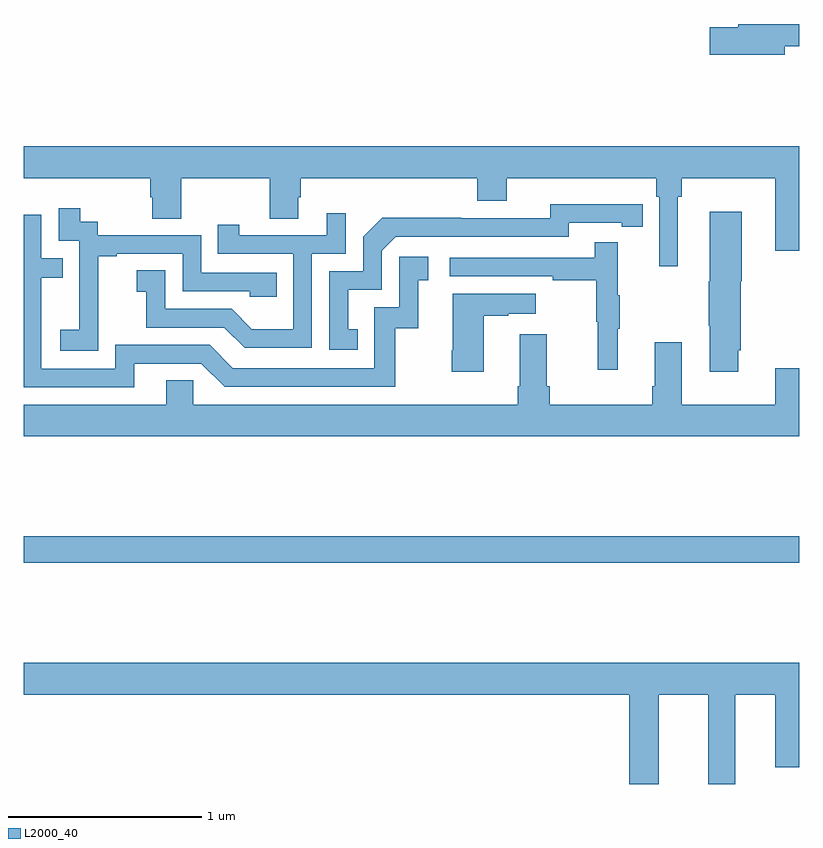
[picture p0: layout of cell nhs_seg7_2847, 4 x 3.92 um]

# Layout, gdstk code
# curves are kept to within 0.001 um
import gdstk
lib = gdstk.Library(unit=1e-6, precision=1e-09)
def R(c, l, rs):  # rectangles x0, y0, x1, y1
    for r in rs: c.add(gdstk.rectangle(r[:2], r[2:], *l))
def P(c, l, *ps):  # polygons
    for p in ps: c.add(gdstk.Polygon(p, *l))
L2000_40 = (2000, 40)

nhs_seg7_2847 = lib.new_cell('nhs_seg7_2847')
R(nhs_seg7_2847, L2000_40, [(293,1077.22,297,1077.356)])
P(nhs_seg7_2847, L2000_40, [(296.926,1079.884),(297,1079.884),(297,1080),(296.687,1080),(296.687,1079.984),(296.538,1079.984),(296.538,1079.842),(296.926,1079.842)],
  [(296.374,1079.108),(296.393,1079.108),(296.393,1079.204),(296.876,1079.204),(296.876,1078.83),(297,1078.83),(297,1079.368),(293,1079.368),(293,1079.204),(293.651,1079.204),(293.651,1079.106),(293.663,1079.106),(293.663,1078.996),(293.811,1078.996),(293.811,1079.204),(294.268,1079.204),(294.268,1078.996),(294.415,1078.996),(294.415,1079.106),(294.428,1079.106),(294.428,1079.204),(295.34,1079.204),(295.34,1079.087),(295.492,1079.087),(295.492,1079.204),(296.264,1079.204),(296.264,1079.108),(296.277,1079.108),(296.277,1078.749),(296.374,1078.749)],
  [(294.722,1078.425),(294.673,1078.425),(294.673,1078.629),(294.846,1078.629),(294.846,1078.83),(294.918,1078.902),(295.812,1078.902),(295.812,1078.974),(296.084,1078.974),(296.084,1078.954),(296.192,1078.954),(296.192,1079.07),(295.716,1079.071),(295.716,1078.998),(295.256,1078.998),(295.256,1079),(294.848,1079),(294.75,1078.902),(294.75,1078.725),(294.576,1078.725),(294.576,1078.32),(294.722,1078.32)],
  [(293.385,1078.519),(293.384,1078.519),(293.384,1078.803),(293.479,1078.803),(293.479,1078.815),(293.82,1078.815),(293.82,1078.62),(294.165,1078.62),(294.165,1078.593),(294.305,1078.593),(294.305,1078.716),(293.916,1078.716),(293.916,1078.911),(293.382,1078.911),(293.382,1078.98),(293.29,1078.98),(293.29,1079.05),(293.181,1079.05),(293.181,1078.881),(293.286,1078.881),(293.286,1078.652),(293.285,1078.652),(293.285,1078.423),(293.187,1078.423),(293.187,1078.313),(293.385,1078.313)],
  [(296.686,1078.318),(296.699,1078.318),(296.699,1078.674),(296.704,1078.674),(296.704,1079.032),(296.54,1079.032),(296.54,1078.674),(296.533,1078.674),(296.533,1078.444),(296.54,1078.444),(296.54,1078.206),(296.686,1078.206)],
  [(294.486,1078.815),(294.66,1078.815),(294.66,1079.023),(294.563,1079.023),(294.563,1078.911),(294.112,1078.911),(294.112,1078.963),(294.001,1078.963),(294.001,1078.815),(294.39,1078.815),(294.39,1078.426),(294.176,1078.426),(294.072,1078.53),(293.73,1078.53),(293.73,1078.729),(293.583,1078.729),(293.583,1078.619),(293.632,1078.619),(293.632,1078.434),(294.035,1078.434),(294.14,1078.329),(294.486,1078.329)],
  [(293.569,1078.248),(293.916,1078.248),(294.036,1078.128),(294.916,1078.128),(294.916,1078.431),(295.034,1078.431),(295.034,1078.677),(295.087,1078.677),(295.087,1078.798),(294.936,1078.798),(294.936,1078.539),(294.807,1078.539),(294.807,1078.224),(294.078,1078.224),(293.958,1078.344),(293.472,1078.344),(293.472,1078.221),(293.091,1078.221),(293.091,1078.69),(293.201,1078.69),(293.201,1078.791),(293.091,1078.791),(293.091,1079.016),(293,1079.016),(293,1078.125),(293.569,1078.125)],
  [(296.063,1078.427),(296.074,1078.427),(296.074,1078.601),(296.063,1078.601),(296.063,1078.873),(295.945,1078.873),(295.945,1078.794),(295.197,1078.794),(295.197,1078.698),(295.729,1078.698),(295.729,1078.678),(295.953,1078.678),(295.953,1078.464),(295.96,1078.464),(295.96,1078.215),(296.063,1078.215)],
  [(295.372,1078.495),(295.499,1078.495),(295.499,1078.505),(295.642,1078.505),(295.642,1078.609),(295.214,1078.609),(295.214,1078.318),(295.207,1078.318),(295.207,1078.206),(295.372,1078.206)],
  [(297,1078.225),(296.876,1078.225),(296.876,1078.036),(296.395,1078.036),(296.395,1078.357),(296.255,1078.357),(296.255,1078.132),(296.243,1078.132),(296.243,1078.036),(295.712,1078.036),(295.712,1078.132),(295.699,1078.132),(295.699,1078.399),(295.559,1078.399),(295.559,1078.132),(295.547,1078.132),(295.547,1078.036),(293.874,1078.036),(293.874,1078.163),(293.735,1078.163),(293.735,1078.036),(293,1078.036),(293,1077.872),(297,1077.872)],
  [(296.275,1076.54),(296.531,1076.54),(296.531,1076.079),(296.671,1076.079),(296.671,1076.54),(296.876,1076.54),(296.876,1076.166),(297,1076.166),(297,1076.704),(293,1076.704),(293,1076.54),(296.123,1076.54),(296.123,1076.079),(296.275,1076.079)])

lib.write_gds('nhs_seg7_2847.gds')
